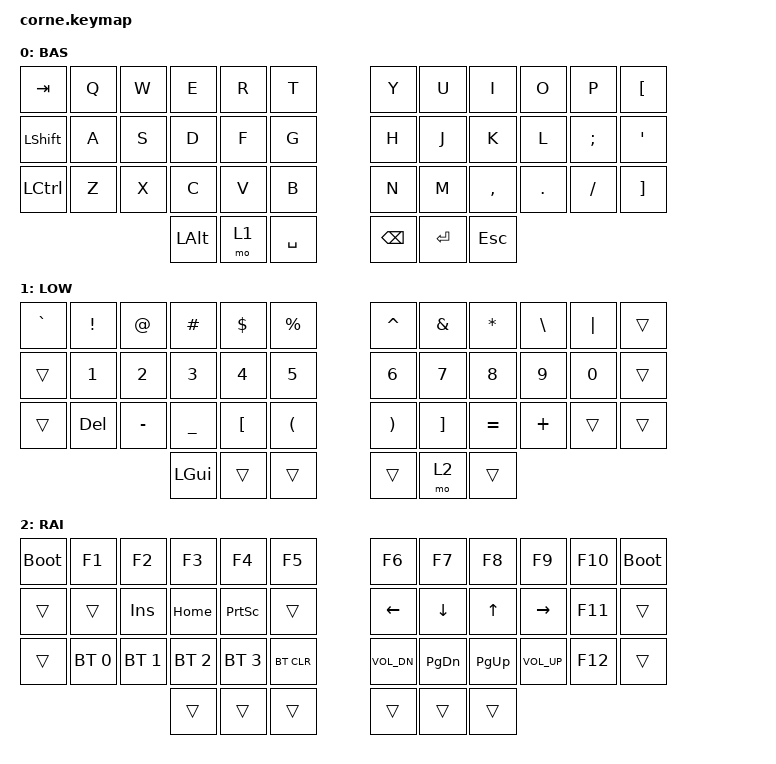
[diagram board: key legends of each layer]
/*
 * Copyright (c) 2020 The ZMK Contributors
 *
 * SPDX-License-Identifier: MIT
 */

#include <behaviors.dtsi>
#include <dt-bindings/zmk/keys.h>
#include <dt-bindings/zmk/bt.h>
#include <dt-bindings/zmk/outputs.h>
#include <dt-bindings/zmk/ext_power.h>
#include <dt-bindings/zmk/reset.h>

/ {
    keymap {
        compatible = "zmk,keymap";

        default_layer {
            display-name = "BAS";
            // -----------------------------------------------------------------------------------------
            // |  TAB |  Q  |  W  |  E  |  R  |  T  |   |  Y  |  U   |  I  |  O  |  P  | BKSP |
            // | CTRL |  A  |  S  |  D  |  F  |  G  |   |  H  |  J   |  K  |  L  |  ;  |  '   |
            // | SHFT |  Z  |  X  |  C  |  V  |  B  |   |  N  |  M   |  ,  |  .  |  /  | ESC  |
            //                    | GUI | LWR | SPC |   | ENT | RSE  | ALT |

            bindings = <
&kp TAB           &kp Q  &kp W  &kp E         &kp R  &kp T        &kp Y          &kp U      &kp I      &kp O    &kp P     &kp LEFT_BRACKET
&kp LEFT_SHIFT    &kp A  &kp S  &kp D         &kp F  &kp G        &kp H          &kp J      &kp K      &kp L    &kp SEMI  &kp SQT
&kp LEFT_CONTROL  &kp Z  &kp X  &kp C         &kp V  &kp B        &kp N          &kp M      &kp COMMA  &kp DOT  &kp FSLH  &kp RIGHT_BRACKET
                                &kp LEFT_ALT  &mo 1  &kp SPACE    &kp BACKSPACE  &kp ENTER  &kp ESC
            >;
        };

        lower_layer {
            display-name = "LOW";
            // -----------------------------------------------------------------------------------------
            // |  TAB |  1  |  2  |  3  |  4  |  5  |   |  6  |  7  |  8  |  9  |  0  | BKSP |
            // | BTCLR| BT1 | BT2 | BT3 | BT4 | BT5 |   | LFT | DWN |  UP | RGT |     |      |
            // | SHFT |     |     |     |     |     |   |     |     |     |     |     |      |
            //                    | GUI |     | SPC |   | ENT |     | ALT |

            bindings = <
&kp GRAVE  &kp EXCL      &kp AT        &kp HASH      &kp DLLR          &kp PRCNT       &kp CARET     &kp AMPS           &kp STAR   &kp BSLH  &kp PIPE  &trans
&trans     &kp NUMBER_1  &kp NUMBER_2  &kp NUMBER_3  &kp NUMBER_4      &kp NUMBER_5    &kp NUMBER_6  &kp N7             &kp N8     &kp N9    &kp N0    &trans
&trans     &kp DEL       &kp MINUS     &kp UNDER     &kp LEFT_BRACKET  &kp LPAR        &kp RPAR      &kp RIGHT_BRACKET  &kp EQUAL  &kp PLUS  &trans    &trans
                                       &kp LGUI      &trans            &trans          &trans        &mo 2              &trans
            >;
        };

        raise_layer {
            display-name = "RAI";
            // -----------------------------------------------------------------------------------------
            // |  TAB |  !  |  @  |  #  |  $  |  %  |   |  ^  |  &  |  *  |  (  |  )  | BKSP |
            // | CTRL |     |     |     |     |     |   |  -  |  =  |  [  |  ]  |  \  |  `   |
            // | SHFT |     |     |     |     |     |   |  _  |  +  |  {  |  }  | "|" |  ~   |
            //                    | GUI |     | SPC |   | ENT |     | ALT |

            bindings = <
&bootloader  &kp F1        &kp F2        &kp F3        &kp F4           &kp F5        &kp F6        &kp F7         &kp F8       &kp F9        &kp F10  &bootloader
&trans       &trans        &kp INS       &kp HOME      &kp PRINTSCREEN  &trans        &kp LEFT      &kp DOWN       &kp UP       &kp RIGHT     &kp F11  &trans
&trans       &bt BT_SEL 0  &bt BT_SEL 1  &bt BT_SEL 2  &bt BT_SEL 3     &bt BT_CLR    &kp C_VOL_DN  &kp PAGE_DOWN  &kp PAGE_UP  &kp C_VOL_UP  &kp F12  &trans
                                         &trans        &trans           &trans        &trans        &trans         &trans
            >;
        };
        extra_1 {
            status = "reserved";
        };

        extra_2 {
            status = "reserved";
        };

        extra_3 {
            status = "reserved";
        };
    };
};
